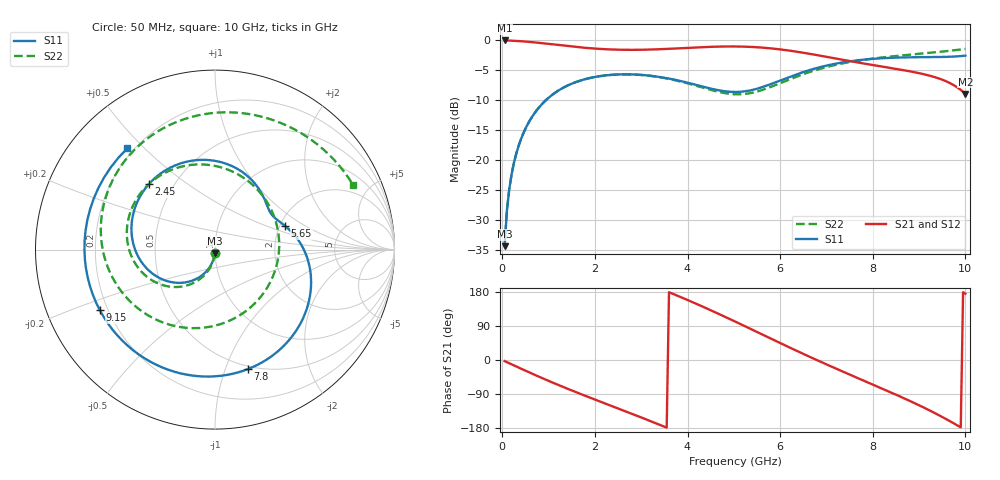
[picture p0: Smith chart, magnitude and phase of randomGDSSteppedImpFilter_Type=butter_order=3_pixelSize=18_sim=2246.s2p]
! freq	dB(S11)	phase(S11)	dB(S12)	phase(S12)
!  dB(S21)	phase(S21)	dB(S22)	phase(S22)
!S-par simulation data
#  GHz  S  DB  R 50
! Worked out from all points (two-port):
!   200 points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, 50 MHz to 10 GHz, reference 50 ohm
!   highest |S21| = 0.00 dB at 50 MHz (marker M1); lowest = -8.9 dB at 10 GHz (marker M2)
!   |S21| within 3 dB of the highest: start of sweep to 7.187 GHz
!   lowest |S11| = -34.4 dB at 50 MHz (marker M3), VSWR 1.04, Z = 49.9 - j1.9 ohm
!   |S11| at or under -10 dB: start of sweep to 940.1 MHz
!   |S22| runs from -34.4 to -1.4 dB; largest |S21 - S12| = 0
!   S11 on the Smith chart (normalised r, x): 50 MHz: 1.00, -0.04; 2.45 GHz: 0.36, +0.36; 5.65 GHz: 2.13, +0.68; 7.8 GHz: 0.47, -1.20; 9.15 GHz: 0.17, -0.24; 10 GHz: 0.18, +0.45
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0.05  -34.40 -93.0  -0.00 -2.9  -0.00 -2.9  -34.40 -92.6
0.1  -28.40 -96.2  -0.01 -5.7  -0.01 -5.7  -28.40 -95.4
0.2  -22.43 -102.5  -0.04 -11.4  -0.04 -11.4  -22.42 -100.9
0.5  -14.76 -120.6  -0.19 -28.2  -0.19 -28.2  -14.76 -116.8
1.1  -8.97 -155.0  -0.67 -60.3  -0.67 -60.3  -8.96 -146.7
1.75  -6.56 170.5  -1.21 -92.5  -1.21 -92.5  -6.56 -176.6
2.45  -5.71 135.5  -1.54 -125.5  -1.54 -125.5  -5.71 152.4
3.4  -6.11 90.2  -1.47 -171.1  -1.47 -171.1  -6.15 107.2
3.8  -6.70 72.4  -1.32 168.8  -1.32 168.8  -6.78 85.0
4.2  -7.46 56.5  -1.17 147.7  -1.17 147.7  -7.61 59.4
4.65  -8.30 42.1  -1.04 123.0  -1.04 123.0  -8.56 24.8
5.05  -8.62 32.6  -1.01 100.2  -1.01 100.2  -9.01 -11.4
5.65  -7.71 18.8  -1.22 65.2  -1.22 65.2  -8.19 -68.3
6.2  -6.11 0.0  -1.70 33.2  -1.70 33.2  -6.52 -113.8
6.7  -4.81 -21.6  -2.32 4.9  -2.32 4.9  -5.12 -148.8
7.25  -3.81 -47.6  -3.09 -25.1  -3.09 -25.1  -4.00 177.3
7.8  -3.22 -74.7  -3.85 -54.2  -3.85 -54.2  -3.24 146.1
8.35  -2.92 -103.3  -4.56 -83.3  -4.56 -83.3  -2.72 116.2
8.75  -2.83 -126.2  -5.09 -105.2  -5.09 -105.2  -2.42 94.7
9.15  -2.79 -152.4  -5.74 -128.4  -5.74 -128.4  -2.14 73.1
9.6  -2.75 171.5  -6.89 -156.9  -6.89 -156.9  -1.78 48.3
10  -2.54 130.8  -8.95 175.2  -8.95 175.2  -1.42 25.1
